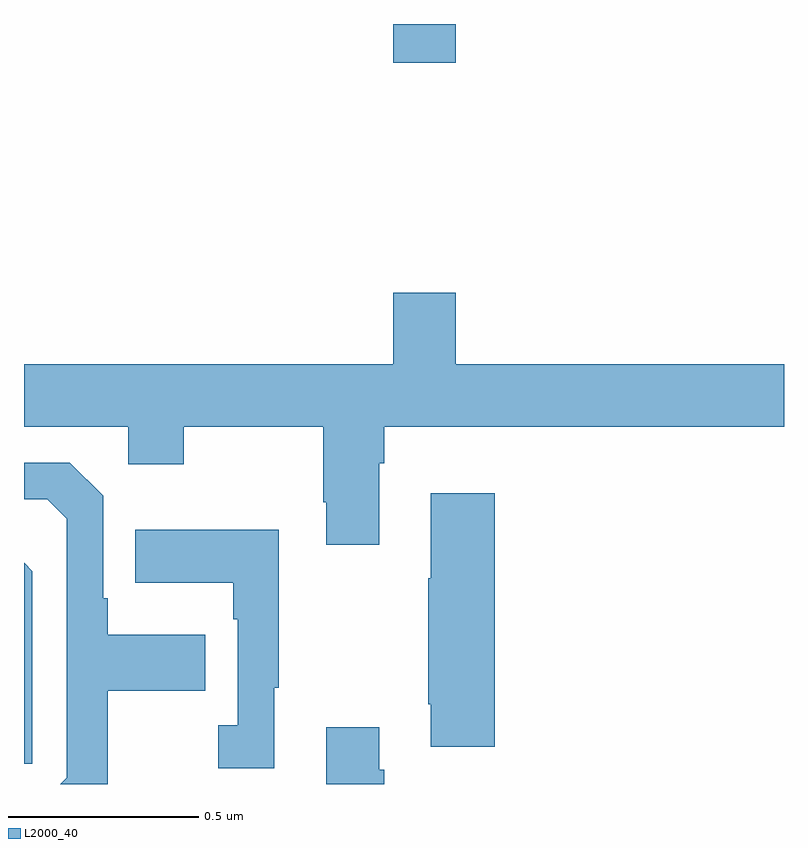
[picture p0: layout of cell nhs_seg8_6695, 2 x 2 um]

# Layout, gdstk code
import gdstk
lib = gdstk.Library(unit=1e-6, precision=1e-09)
def R(c, l, rs):  # rectangles x0, y0, x1, y1
    for r in rs: c.add(gdstk.rectangle(r[:2], r[2:], *l))
def P(c, l, *ps):  # polygons
    for p in ps: c.add(gdstk.Polygon(p, *l))
L2000_40 = (2000, 40)

nhs_seg8_6695 = lib.new_cell('nhs_seg8_6695')
R(nhs_seg8_6695, L2000_40, [(200.972,1110.798,201.136,1110.9)])
P(nhs_seg8_6695, L2000_40, [(200.935,1109.744),(200.948,1109.744),(200.948,1109.84),(202,1109.84),(202,1110.004),(201.136,1110.004),(201.136,1110.193),(200.972,1110.193),(200.972,1110.004),(200,1110.004),(200,1109.84),(200.274,1109.84),(200.274,1109.741),(200.421,1109.741),(200.421,1109.84),(200.788,1109.84),(200.788,1109.641),(200.795,1109.641),(200.795,1109.529),(200.935,1109.529)],
  [(200.221,1109.146),(200.477,1109.146),(200.477,1109.293),(200.221,1109.293),(200.221,1109.389),(200.208,1109.389),(200.208,1109.658),(200.121,1109.745),(200,1109.745),(200,1109.649),(200.061,1109.649),(200.112,1109.598),(200.112,1108.917),(200.095,1108.9),(200.221,1108.9)],
  [(201.239,1109.665),(201.071,1109.665),(201.071,1109.441),(201.064,1109.441),(201.064,1109.11),(201.071,1109.11),(201.071,1108.998),(201.239,1108.998)],
  [(200.659,1109.153),(200.671,1109.153),(200.671,1109.569),(200.293,1109.569),(200.293,1109.429),(200.55,1109.429),(200.55,1109.333),(200.562,1109.333),(200.562,1109.054),(200.511,1109.054),(200.511,1108.941),(200.659,1108.941)],
  [(200.022,1109.46),(200,1109.482),(200,1108.953),(200.022,1108.953)],
  [(200.948,1108.937),(200.935,1108.937),(200.935,1109.05),(200.795,1109.05),(200.795,1108.9),(200.948,1108.9)])

lib.write_gds('nhs_seg8_6695.gds')
